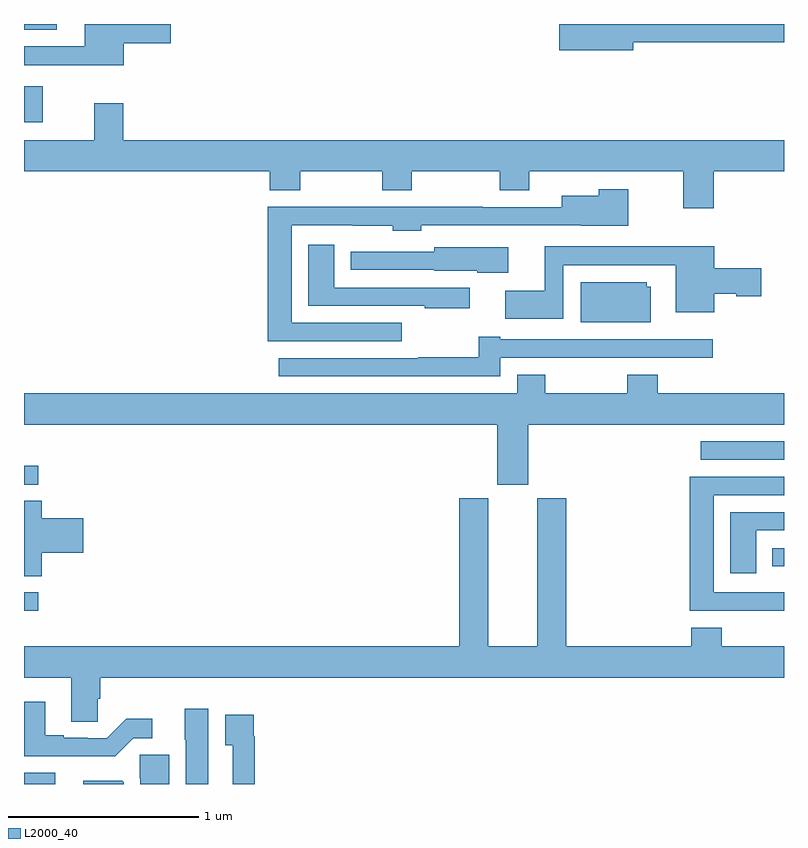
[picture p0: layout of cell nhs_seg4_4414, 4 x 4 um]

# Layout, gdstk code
import gdstk
lib = gdstk.Library(unit=1e-6, precision=1e-09)
def R(c, l, rs):  # rectangles x0, y0, x1, y1
    for r in rs: c.add(gdstk.rectangle(r[:2], r[2:], *l))
def P(c, l, *ps):  # polygons
    for p in ps: c.add(gdstk.Polygon(p, *l))
L2000_40 = (2000, 40)

nhs_seg4_4414 = lib.new_cell('nhs_seg4_4414')
R(nhs_seg4_4414, L2000_40, [(347,822.9,347.164,822.958), (347,823.812,347.074,823.908), (350.939,824.046,351,824.142), (347,824.475,347.074,824.574), (350.562,824.607,351,824.703), (347,826.382,347.098,826.573), (347,826.871,347.173,826.9)])
P(nhs_seg4_4414, L2000_40, [(347.524,826.799),(347.773,826.799),(347.773,826.9),(347.321,826.9),(347.321,826.783),(347,826.783),(347,826.682),(347.524,826.682)],
  [(350.206,826.804),(351,826.804),(351,826.9),(349.818,826.9),(349.818,826.762),(350.206,826.762)],
  [(350.63,826.124),(351,826.124),(351,826.288),(347.522,826.288),(347.522,826.483),(347.369,826.483),(347.369,826.288),(347,826.288),(347,826.124),(348.293,826.124),(348.293,826.025),(348.453,826.025),(348.453,826.124),(348.886,826.124),(348.886,826.025),(349.041,826.025),(349.041,826.124),(349.504,826.124),(349.504,826.025),(349.659,826.025),(349.659,826.124),(350.47,826.124),(350.47,825.93),(350.63,825.93)],
  [(348.988,825.327),(348.409,825.327),(348.409,825.84),(348.73,825.84),(348.73,825.839),(348.942,825.839),(348.942,825.812),(349.092,825.812),(349.092,825.84),(349.933,825.84),(349.933,825.839),(350.181,825.839),(350.181,826.03),(350.026,826.03),(350.026,825.997),(349.829,825.997),(349.829,825.936),(349.415,825.936),(349.415,825.938),(348.284,825.938),(348.284,825.231),(348.988,825.231)],
  [(349.345,825.513),(348.634,825.513),(348.634,825.739),(348.497,825.739),(348.497,825.417),(349.109,825.417),(349.109,825.404),(349.345,825.404)],
  [(349.839,825.629),(350.429,825.629),(350.429,825.383),(350.632,825.383),(350.632,825.479),(350.748,825.479),(350.748,825.467),(350.881,825.467),(350.881,825.614),(350.632,825.614),(350.632,825.73),(349.742,825.73),(349.742,825.496),(349.533,825.496),(349.533,825.35),(349.839,825.35)],
  [(349.549,825.724),(349.158,825.724),(349.158,825.702),(348.719,825.702),(348.719,825.606),(349.158,825.606),(349.158,825.602),(349.386,825.602),(349.386,825.591),(349.549,825.591)],
  [(350.299,825.516),(350.277,825.516),(350.277,825.541),(349.931,825.541),(349.931,825.329),(350.299,825.329)],
  [(349.507,825.144),(349.831,825.144),(349.831,825.143),(350.087,825.143),(350.087,825.144),(350.626,825.144),(350.626,825.241),(350.377,825.241),(350.377,825.24),(349.507,825.24),(349.507,825.253),(349.393,825.253),(349.393,825.146),(349.075,825.146),(349.075,825.141),(348.342,825.141),(348.342,825.045),(349.507,825.045)],
  [(349.654,824.792),(351,824.792),(351,824.956),(350.336,824.956),(350.336,825.055),(350.176,825.055),(350.176,824.956),(349.743,824.956),(349.743,825.055),(349.595,825.055),(349.595,824.956),(347,824.956),(347,824.792),(349.49,824.792),(349.49,824.475),(349.654,824.475)],
  [(351,823.909),(350.95,823.909),(350.95,823.908),(350.629,823.908),(350.629,824.421),(351,824.421),(351,824.517),(350.504,824.517),(350.504,823.811),(351,823.811)],
  [(347.388,823.35),(347.402,823.35),(347.402,823.46),(351,823.46),(351,823.624),(350.673,823.624),(350.673,823.723),(350.513,823.723),(350.513,823.624),(349.853,823.624),(349.853,824.403),(349.7,824.403),(349.7,823.624),(349.444,823.624),(349.444,824.403),(349.292,824.403),(349.292,823.624),(347,823.624),(347,823.46),(347.249,823.46),(347.249,823.228),(347.388,823.228)],
  [(347.093,824.117),(347.311,824.117),(347.311,824.3),(347.093,824.3),(347.093,824.39),(347,824.39),(347,823.993),(347.093,823.993)],
  [(350.854,824.235),(351,824.235),(351,824.331),(350.717,824.331),(350.717,824.01),(350.854,824.01)],
  [(347.574,823.14),(347.674,823.14),(347.674,823.243),(347.539,823.243),(347.436,823.14),(347.336,823.14),(347.336,823.143),(347.209,823.143),(347.209,823.156),(347.113,823.156),(347.113,823.333),(347,823.333),(347,823.046),(347.479,823.046)],
  [(347.971,823.297),(347.846,823.297),(347.846,823.134),(347.852,823.134),(347.852,822.9),(347.971,822.9)],
  [(348.215,823.151),(348.208,823.151),(348.208,823.264),(348.059,823.264),(348.059,823.103),(348.099,823.103),(348.099,822.9),(348.215,822.9)],
  [(347.764,823.053),(347.608,823.053),(347.608,822.93),(347.612,822.93),(347.612,822.9),(347.764,822.9)],
  [(347.524,822.908),(347.516,822.916),(347.312,822.916),(347.312,822.9),(347.524,822.9)])

lib.write_gds('nhs_seg4_4414.gds')
